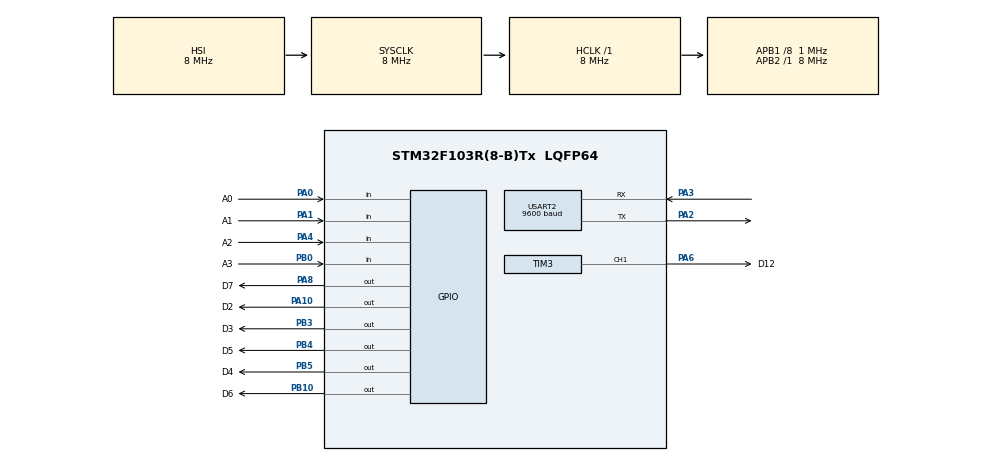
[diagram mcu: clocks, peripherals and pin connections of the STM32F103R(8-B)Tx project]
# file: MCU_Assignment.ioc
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Mcu.Family=STM32F1
Mcu.Name=STM32F103R(8-B)Tx
Mcu.Package=LQFP64
NVIC.PriorityGroup=NVIC_PRIORITYGROUP_4
NVIC.TIM2_IRQn=true\:0\:0\:false\:false\:true\:true\:true
NVIC.TIM3_IRQn=true\:0\:0\:false\:false\:true\:true\:true
NVIC.USART2_IRQn=true\:0\:0\:false\:false\:true\:true\:true
PA0-WKUP.GPIO_Label=A0
PA0-WKUP.GPIO_PuPd=GPIO_PULLUP
PA0-WKUP.Signal=GPIO_Input
PA1.GPIO_Label=A1
PA1.GPIO_PuPd=GPIO_PULLUP
PA1.Signal=GPIO_Input
PA10.GPIO_Label=D2
PA10.Signal=GPIO_Output
PA13.Mode=Serial_Wire
PA13.Signal=SYS_JTMS-SWDIO
PA14.Mode=Serial_Wire
PA14.Signal=SYS_JTCK-SWCLK
PA2.Mode=Asynchronous
PA2.Signal=USART2_TX
PA3.Mode=Asynchronous
PA3.Signal=USART2_RX
PA4.GPIO_Label=A2
PA4.GPIO_PuPd=GPIO_PULLUP
PA4.Signal=GPIO_Input
PA6.GPIO_Label=D12
PA6.Signal=S_TIM3_CH1
PA8.GPIO_Label=D7
PA8.Signal=GPIO_Output
PB0.GPIO_Label=A3
PB0.GPIO_PuPd=GPIO_PULLUP
PB0.Signal=GPIO_Input
PB10.GPIO_Label=D6
PB10.Signal=GPIO_Output
PB3.GPIO_Label=D3
PB3.Signal=GPIO_Output
PB4.GPIO_Label=D5
PB4.Signal=GPIO_Output
PB5.GPIO_Label=D4
PB5.Signal=GPIO_Output
ProjectManager.HeapSize=0x200
ProjectManager.StackSize=0x400
ProjectManager.TargetToolchain=STM32CubeIDE
RCC.AHBFreq_Value=8000000
RCC.APB1CLKDivider=RCC_HCLK_DIV8
RCC.APB1Freq_Value=1000000
RCC.APB1TimFreq_Value=2000000
RCC.APB2Freq_Value=8000000
RCC.APB2TimFreq_Value=8000000
RCC.HCLKFreq_Value=8000000
RCC.PLLMUL=RCC_PLL_MUL16
RCC.SYSCLKFreq_VALUE=8000000
RCC.USBFreq_Value=64000000
SH.S_TIM3_CH1.0=TIM3_CH1,PWM Generation1 CH1
TIM2.Period=9
TIM2.Prescaler=7999
TIM3.Channel-PWM\ Generation1\ CH1=TIM_CHANNEL_1
TIM3.Period=99
TIM3.Prescaler=79
USART2.BaudRate=9600
USART2.VirtualMode=VM_ASYNC
VP_TIM2_VS_ClockSourceINT.Mode=Internal
VP_TIM3_VS_ClockSourceINT.Mode=Internal
board=custom

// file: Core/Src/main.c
/* USER CODE BEGIN Header */
/**
  ******************************************************************************
  * @file           : main.c
  * @brief          : Main program body
  ******************************************************************************
  * @attention
  *
  * <h2><center>&copy; Copyright (c) 2023 STMicroelectronics.
  * All rights reserved.</center></h2>
  *
  * This software component is licensed by ST under BSD 3-Clause license,
  * the "License"; You may not use this file except in compliance with the
  * License. You may obtain a copy of the License at:
  *                        opensource.org/licenses/BSD-3-Clause
  *
  ******************************************************************************
  */
/* USER CODE END Header */
#include "main.h"
#include "global.h"
#include <stdio.h>
#include "uart.h"
#include "fsm_automatic.h"
#include "fsm_manual.h"
#include "fsm_pedestrian.h"
#include "fsm_tuning.h"

TIM_HandleTypeDef htim2;
TIM_HandleTypeDef htim3;

UART_HandleTypeDef huart2;

void SystemClock_Config(void);
static void MX_GPIO_Init(void);
static void MX_TIM2_Init(void);
static void MX_TIM3_Init(void);
static void MX_USART2_UART_Init(void);

/* USER CODE BEGIN 0 */
void HAL_UART_RxCpltCallback(UART_HandleTypeDef *huart) {
  if (huart->Instance==USART2) {
	  HAL_UART_Transmit (&huart2 , &temp , 1 , 50) ;
	  uart_buffer[index_buffer++]=temp;
	  if (index_buffer >= MAX_BUFFER_SIZE)
		  index_buffer=0;
	  buffer_flag=1;
	  HAL_UART_Receive_IT(&huart2, &temp, 1);
  }
}
/* USER CODE END 0 */

int main(void)
{

  /* MCU Configuration--------------------------------------------------------*/

  /* Reset of all peripherals, Initializes the Flash interface and the Systick. */
  HAL_Init();

  /* Configure the system clock */
  SystemClock_Config();

  /* Initialize all configured peripherals */
  MX_GPIO_Init();
  MX_TIM2_Init();
  MX_TIM3_Init();
  MX_USART2_UART_Init();
  /* USER CODE BEGIN 2 */
  MX_GPIO_Init();
  HAL_TIM_Base_Start_IT (&htim2) ;
  HAL_UART_Receive_IT(&huart2, &temp, 1);
  /* USER CODE END 2 */

  /* Infinite loop */
  /* USER CODE BEGIN WHILE */
  HAL_TIM_PWM_Start(&htim3, TIM_CHANNEL_1);
  setTimer(1, 1);
  setTimer(9, 1);
  while (1)
  {
  	fsm_automatic_run();
  	fsm_tuning_run();
  	manual_fsm_run();
  	fsm_pedestrian();
//	  if(buffer_flag == 1){
//		  command_parser_fsm();
//		  buffer_flag = 0;
//	  }
//	  HAL_UART_Transmit(&huart2, "1", 1, 50);
//	  uart_communication_fsm();
    /* USER CODE END WHILE */

  }
}

void SystemClock_Config(void)
{
  RCC_OscInitTypeDef RCC_OscInitStruct = {0};
  RCC_ClkInitTypeDef RCC_ClkInitStruct = {0};

  /** Initializes the RCC Oscillators according to the specified parameters
  * in the RCC_OscInitTypeDef structure.
  */
  RCC_OscInitStruct.OscillatorType = RCC_OSCILLATORTYPE_HSI;
  RCC_OscInitStruct.HSIState = RCC_HSI_ON;
  RCC_OscInitStruct.HSICalibrationValue = RCC_HSICALIBRATION_DEFAULT;
  RCC_OscInitStruct.PLL.PLLState = RCC_PLL_NONE;
  if (HAL_RCC_OscConfig(&RCC_OscInitStruct) != HAL_OK)
  {
    Error_Handler();
  }
  /** Initializes the CPU, AHB and APB buses clocks
  */
  RCC_ClkInitStruct.ClockType = RCC_CLOCKTYPE_HCLK|RCC_CLOCKTYPE_SYSCLK
                              |RCC_CLOCKTYPE_PCLK1|RCC_CLOCKTYPE_PCLK2;
  RCC_ClkInitStruct.SYSCLKSource = RCC_SYSCLKSOURCE_HSI;
  RCC_ClkInitStruct.AHBCLKDivider = RCC_SYSCLK_DIV1;
  RCC_ClkInitStruct.APB1CLKDivider = RCC_HCLK_DIV8;
  RCC_ClkInitStruct.APB2CLKDivider = RCC_HCLK_DIV1;

  if (HAL_RCC_ClockConfig(&RCC_ClkInitStruct, FLASH_LATENCY_0) != HAL_OK)
  {
    Error_Handler();
  }
}

static void MX_TIM2_Init(void)
{

  TIM_ClockConfigTypeDef sClockSourceConfig = {0};
  TIM_MasterConfigTypeDef sMasterConfig = {0};

  htim2.Instance = TIM2;
  htim2.Init.Prescaler = 7999;
  htim2.Init.CounterMode = TIM_COUNTERMODE_UP;
  htim2.Init.Period = 9;
  htim2.Init.ClockDivision = TIM_CLOCKDIVISION_DIV1;
  htim2.Init.AutoReloadPreload = TIM_AUTORELOAD_PRELOAD_DISABLE;
  if (HAL_TIM_Base_Init(&htim2) != HAL_OK)
  {
    Error_Handler();
  }
  sClockSourceConfig.ClockSource = TIM_CLOCKSOURCE_INTERNAL;
  if (HAL_TIM_ConfigClockSource(&htim2, &sClockSourceConfig) != HAL_OK)
  {
    Error_Handler();
  }
  sMasterConfig.MasterOutputTrigger = TIM_TRGO_RESET;
  sMasterConfig.MasterSlaveMode = TIM_MASTERSLAVEMODE_DISABLE;
  if (HAL_TIMEx_MasterConfigSynchronization(&htim2, &sMasterConfig) != HAL_OK)
  {
    Error_Handler();
  }
  /* USER CODE BEGIN TIM2_Init 2 */
  HAL_TIM_Base_Start_IT(&htim2);
  /* USER CODE END TIM2_Init 2 */

}

static void MX_TIM3_Init(void)
{

  TIM_ClockConfigTypeDef sClockSourceConfig = {0};
  TIM_MasterConfigTypeDef sMasterConfig = {0};
  TIM_OC_InitTypeDef sConfigOC = {0};

  htim3.Instance = TIM3;
  htim3.Init.Prescaler = 79;
  htim3.Init.CounterMode = TIM_COUNTERMODE_UP;
  htim3.Init.Period = 99;
  htim3.Init.ClockDivision = TIM_CLOCKDIVISION_DIV1;
  htim3.Init.AutoReloadPreload = TIM_AUTORELOAD_PRELOAD_DISABLE;
  if (HAL_TIM_Base_Init(&htim3) != HAL_OK)
  {
    Error_Handler();
  }
  sClockSourceConfig.ClockSource = TIM_CLOCKSOURCE_INTERNAL;
  if (HAL_TIM_ConfigClockSource(&htim3, &sClockSourceConfig) != HAL_OK)
  {
    Error_Handler();
  }
  if (HAL_TIM_PWM_Init(&htim3) != HAL_OK)
  {
    Error_Handler();
  }
  sMasterConfig.MasterOutputTrigger = TIM_TRGO_RESET;
  sMasterConfig.MasterSlaveMode = TIM_MASTERSLAVEMODE_DISABLE;
  if (HAL_TIMEx_MasterConfigSynchronization(&htim3, &sMasterConfig) != HAL_OK)
  {
    Error_Handler();
  }
  sConfigOC.OCMode = TIM_OCMODE_PWM1;
  sConfigOC.Pulse = 0;
  sConfigOC.OCPolarity = TIM_OCPOLARITY_HIGH;
  sConfigOC.OCFastMode = TIM_OCFAST_DISABLE;
  if (HAL_TIM_PWM_ConfigChannel(&htim3, &sConfigOC, TIM_CHANNEL_1) != HAL_OK)
  {
    Error_Handler();
  }
  HAL_TIM_MspPostInit(&htim3);

}

static void MX_USART2_UART_Init(void)
{

  huart2.Instance = USART2;
  huart2.Init.BaudRate = 9600;
  huart2.Init.WordLength = UART_WORDLENGTH_8B;
  huart2.Init.StopBits = UART_STOPBITS_1;
  huart2.Init.Parity = UART_PARITY_NONE;
  huart2.Init.Mode = UART_MODE_TX_RX;
  huart2.Init.HwFlowCtl = UART_HWCONTROL_NONE;
  huart2.Init.OverSampling = UART_OVERSAMPLING_16;
  if (HAL_UART_Init(&huart2) != HAL_OK)
  {
    Error_Handler();
  }

}

static void MX_GPIO_Init(void)
{
  GPIO_InitTypeDef GPIO_InitStruct = {0};

  /* GPIO Ports Clock Enable */
  __HAL_RCC_GPIOA_CLK_ENABLE();
  __HAL_RCC_GPIOB_CLK_ENABLE();

  /*Configure GPIO pin Output Level */
  HAL_GPIO_WritePin(GPIOB, D6_Pin|D3_Pin|D5_Pin|D4_Pin, GPIO_PIN_RESET);

  /*Configure GPIO pin Output Level */
  HAL_GPIO_WritePin(GPIOA, D7_Pin|D2_Pin, GPIO_PIN_RESET);

  /*Configure GPIO pins : A0_Pin A1_Pin A2_Pin */
  GPIO_InitStruct.Pin = A0_Pin|A1_Pin|A2_Pin;
  GPIO_InitStruct.Mode = GPIO_MODE_INPUT;
  GPIO_InitStruct.Pull = GPIO_PULLUP;
  HAL_GPIO_Init(GPIOA, &GPIO_InitStruct);

  /*Configure GPIO pin : A3_Pin */
  GPIO_InitStruct.Pin = A3_Pin;
  GPIO_InitStruct.Mode = GPIO_MODE_INPUT;
  GPIO_InitStruct.Pull = GPIO_PULLUP;
  HAL_GPIO_Init(A3_GPIO_Port, &GPIO_InitStruct);

  /*Configure GPIO pins : D6_Pin D3_Pin D5_Pin D4_Pin */
  GPIO_InitStruct.Pin = D6_Pin|D3_Pin|D5_Pin|D4_Pin;
  GPIO_InitStruct.Mode = GPIO_MODE_OUTPUT_PP;
  GPIO_InitStruct.Pull = GPIO_NOPULL;
  GPIO_InitStruct.Speed = GPIO_SPEED_FREQ_LOW;
  HAL_GPIO_Init(GPIOB, &GPIO_InitStruct);

  /*Configure GPIO pins : D7_Pin D2_Pin */
  GPIO_InitStruct.Pin = D7_Pin|D2_Pin;
  GPIO_InitStruct.Mode = GPIO_MODE_OUTPUT_PP;
  GPIO_InitStruct.Pull = GPIO_NOPULL;
  GPIO_InitStruct.Speed = GPIO_SPEED_FREQ_LOW;
  HAL_GPIO_Init(GPIOA, &GPIO_InitStruct);

}

/* USER CODE BEGIN 4 */
void HAL_TIM_PeriodElapsedCallback(TIM_HandleTypeDef *htim) {
	timer_run();
	getKeyInput(0);
	getKeyInput(1);
	getKeyInput(2);
	getKeyInput(3);
}
/* USER CODE END 4 */

void Error_Handler(void)
{
  __disable_irq();
  while (1)
  {
  }
}

/************************ (C) COPYRIGHT STMicroelectronics *****END OF FILE****/
